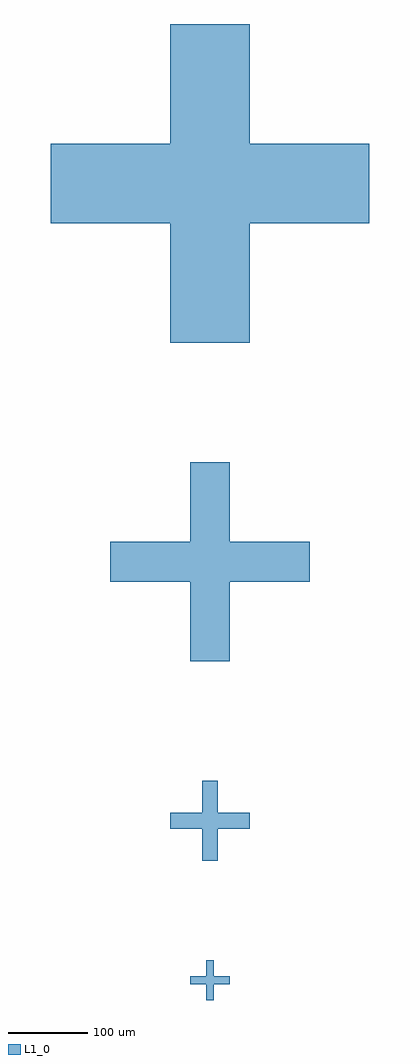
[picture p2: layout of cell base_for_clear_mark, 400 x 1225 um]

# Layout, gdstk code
import gdstk
lib = gdstk.Library(unit=1e-6, precision=1e-09)
def R(c, l, rs):  # rectangles x0, y0, x1, y1
    for r in rs: c.add(gdstk.rectangle(r[:2], r[2:], *l))
L1_0 = (1, 0)

base_for_clear_mark = lib.new_cell('base_for_clear_mark')
R(base_for_clear_mark, L1_0, [(210,-1240,220,-1190), (190,-1220,240,-1210), (205,-1065,225,-965), (165,-1025,265,-1005), (190,-815,240,-565), (90,-715,340,-665), (165,-415,265,-15), (15,-265,415,-165)])

lib.write_gds('base_for_clear_mark.gds')
